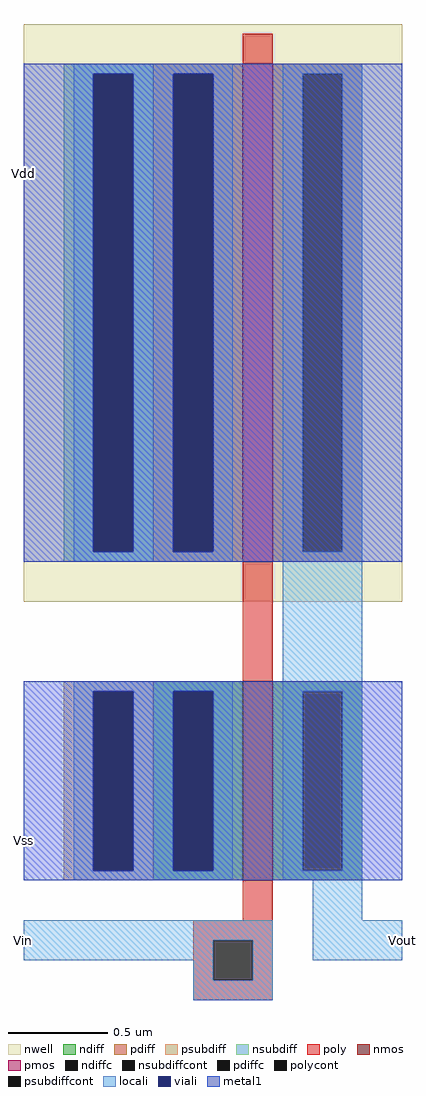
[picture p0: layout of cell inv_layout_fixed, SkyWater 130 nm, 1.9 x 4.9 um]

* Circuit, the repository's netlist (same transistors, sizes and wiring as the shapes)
* SPICE3 file created from inv_layout_fixed.ext - technology: sky130B

.subckt inv_layout_fixed Vin Vout Vdd Vss
X0 Vout Vin Vdd Vdd sky130_fd_pr__pfet_01v8 ad=1.125 pd=5.9 as=1.125 ps=5.9 w=2.5 l=0.15
X1 Vout Vin Vss Vss sky130_fd_pr__nfet_01v8 ad=0.45 pd=2.9 as=0.45 ps=2.9 w=1 l=0.15
.ends

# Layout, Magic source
magic
tech sky130B
<< nwell >>
rect -115 70 75 360
<< nmos >>
rect -5 -70 10 30
<< pmos >>
rect -5 90 10 340
<< ndiff >>
rect -50 25 -5 30
rect -50 -65 -40 25
rect -20 -65 -5 25
rect -50 -70 -5 -65
rect 10 25 55 30
rect 10 -65 25 25
rect 45 -65 55 25
rect 10 -70 55 -65
<< pdiff >>
rect -50 335 -5 340
rect -50 95 -40 335
rect -20 95 -5 335
rect -50 90 -5 95
rect 10 335 55 340
rect 10 95 25 335
rect 45 95 55 335
rect 10 90 55 95
<< ndiffc >>
rect -40 -65 -20 25
rect 25 -65 45 25
<< pdiffc >>
rect -40 95 -20 335
rect 25 95 45 335
<< psubdiff >>
rect -95 25 -50 30
rect -95 -65 -80 25
rect -60 -65 -50 25
rect -95 -70 -50 -65
<< nsubdiff >>
rect -95 335 -50 340
rect -95 95 -80 335
rect -60 95 -50 335
rect -95 90 -50 95
<< psubdiffcont >>
rect -80 -65 -60 25
<< nsubdiffcont >>
rect -80 95 -60 335
<< poly >>
rect -5 340 10 355
rect -5 30 10 90
rect -5 -90 10 -70
rect -30 -100 10 -90
rect -30 -120 -20 -100
rect 0 -120 10 -100
rect -30 -130 10 -120
<< polycont >>
rect -20 -120 0 -100
<< locali >>
rect -90 335 -10 340
rect -90 95 -80 335
rect -60 95 -40 335
rect -20 95 -10 335
rect -90 90 -10 95
rect 15 335 55 340
rect 15 95 25 335
rect 45 95 55 335
rect -90 25 -10 30
rect -90 -65 -80 25
rect -60 -65 -40 25
rect -20 -65 -10 25
rect -90 -70 -10 -65
rect 15 25 55 95
rect 15 -65 25 25
rect 45 -65 55 25
rect 15 -70 55 -65
rect 30 -90 55 -70
rect -115 -100 10 -90
rect -115 -110 -20 -100
rect -30 -120 -20 -110
rect 0 -120 10 -100
rect 30 -110 75 -90
rect -30 -130 10 -120
<< viali >>
rect -80 95 -60 335
rect -40 95 -20 335
rect -80 -65 -60 25
rect -40 -65 -20 25
<< metal1 >>
rect -115 335 75 340
rect -115 95 -80 335
rect -60 95 -40 335
rect -20 95 75 335
rect -115 90 75 95
rect -115 25 75 30
rect -115 -65 -80 25
rect -60 -65 -40 25
rect -20 -65 75 25
rect -115 -70 75 -65
<< labels >>
rlabel metal1 -115 285 -115 285 7 Vdd
port 3 w
rlabel locali -115 -100 -115 -100 7 Vin
port 1 w
rlabel locali 75 -100 75 -100 3 Vout
port 2 e
rlabel metal1 -115 -50 -115 -50 7 Vss
port 4 w
<< end >>
